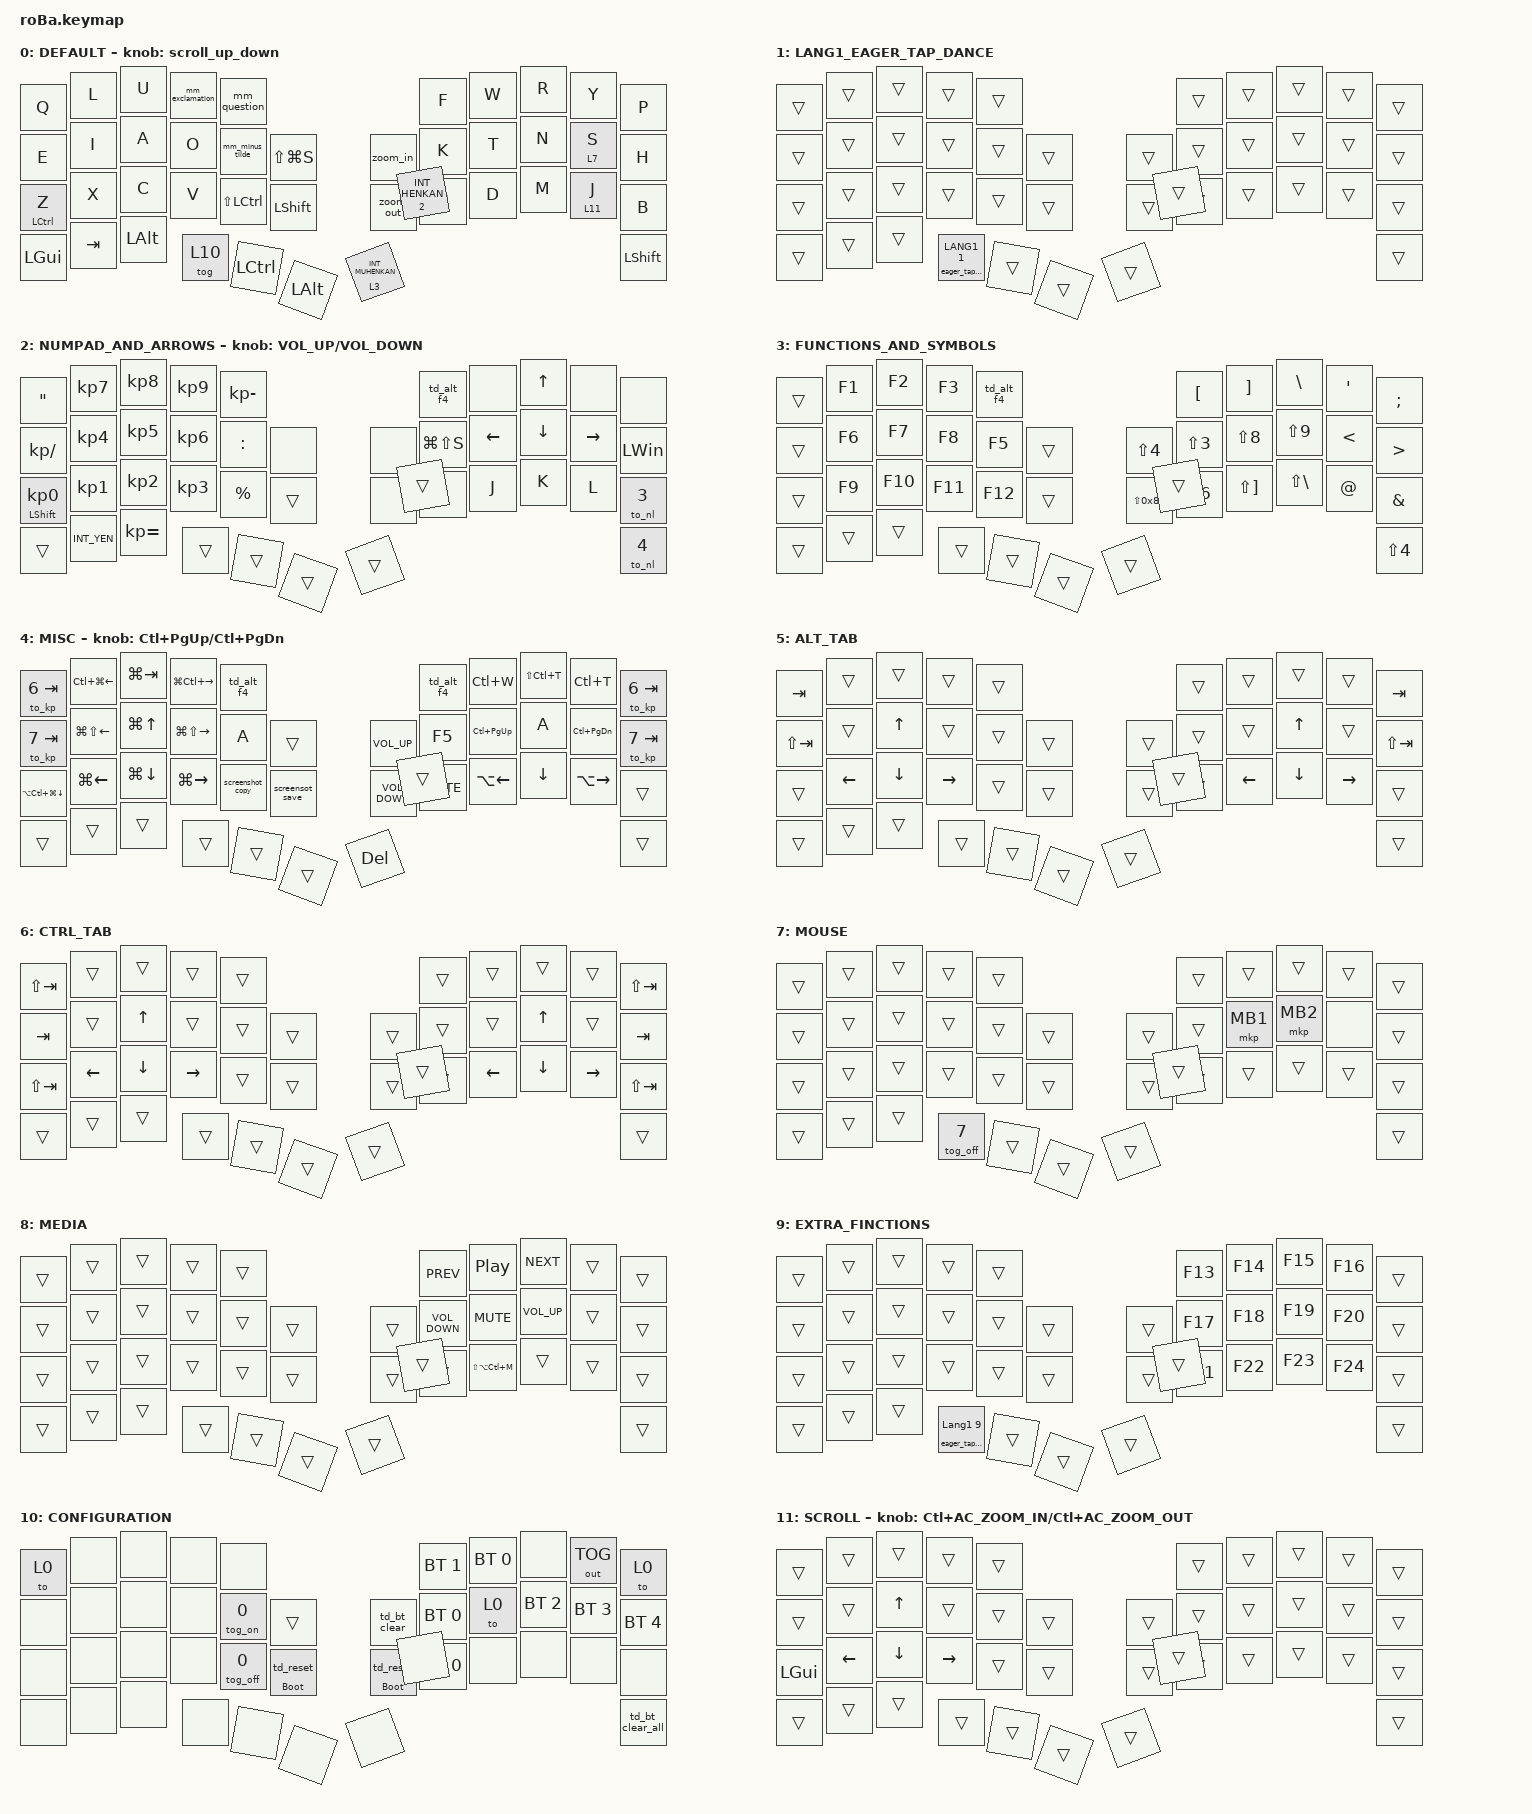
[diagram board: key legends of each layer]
/* --- マウス・ポインティングの設定 --- */

#define ZMK_POINTING_DEFAULT_SCRL_VAL 150 // スクロールの移動量を定義（数値が大きいほど速い）
#define ZMK_MOUSE_POINTING_SCRL_VAL 30

/* --- レイヤー番号の定義 --- */

#define DEFAULT 0               // 基本の入力レイヤー
#define LANG1_EAGER_TAP_DANCE 1 // 言語切り替え用の特殊な挙動レイヤー
#define NUMPAD_AND_ARROWS 2     // テンキーと矢印キーのレイヤー
#define FUNCTIONS_AND_SYMBOLS 3 // ファンクションキーと記号のレイヤー
#define MISC 4                  // その他(Miscellaneous)のキーレイヤー
#define ALT_TAB 5               // Alt+Tab操作用のレイヤー
#define CTRL_TAB 6              // Ctrl+Tab操作用のレイヤー
#define MOUSE 7                 // マウスカーソル操作レイヤー
#define MEDIA 8                 // 音楽再生や音量調整などのメディアレイヤー
#define EXTRA_FINCTIONS 9       // 追加機能レイヤー（スペルミス：FUNCTIONS）
#define CONFIGURATION 10        // キーボード自体の設定（ペアリング等）レイヤー
#define SCROLL 11               // スクロール操作専用レイヤー

/* --- システム・外部ファイルの読み込み --- */

#include <zephyr/dt-bindings/input/input-event-codes.h> // 標準的な入力イベント（キーコード）の定義
#include <dt-bindings/zmk/input_transform.h>           // トラックボールなどの入力反転・回転変換
#include <input/processors.dtsi>                       // 入力データの処理（スムージング等）

// #include <input/processors/report_rate_limit.dtsi>     // 通信の更新レート制限（バッテリー節約等）

#include <behaviors/rgbled_widget.dtsi>                // LED表示（ウィジェット）の制御
#include <layout_shift_kp_override.dtsi>               // シフト時のキー上書き設定

/* --- ZMKの基本機能の読み込み --- */

#include <behaviors/input_gestures_accel.dtsi>
#include <mouse-gesture.dtsi>
#include <behaviors.dtsi>
#include <dt-bindings/zmk/bt.h>
#include <dt-bindings/zmk/keys.h>
#include <dt-bindings/zmk/outputs.h>
#include <dt-bindings/zmk/pointing.h>

// OS設定を日本語キーボードのまま使用するための変換定義

#define JP_DQUOTE       AT                // "
#define JP_QUOTE        AMPERSAND         // '
#define JP_AMPERSAND    CARET             // &
#define JP_EQUAL        UNDER             // =
#define JP_CARET        EQUAL             // ^
#define JP_YEN          0x89              // ¥
#define JP_PLUS         COLON             // +
#define JP_TILDE        PLUS              // ~
#define JP_PIPE         LS(0x89)          // |
#define JP_AT           LEFT_BRACKET      // @
#define JP_COLON        SINGLE_QUOTE      // :
#define JP_ASTERISK     DOUBLE_QUOTES     // *
#define JP_BACKQUOTE    LEFT_BRACE        // `
#define JP_UNDERSCORE   LS(0x87)          // _
#define JP_LBRACKET     RIGHT_BRACKET     // [
#define JP_RBRACKET     BACKSLASH         // ]
#define JP_LPAREN       ASTERISK          // (
#define JP_RPAREN       LEFT_PARENTHESIS  // )
#define JP_LBRACE       RIGHT_BRACE       // {
#define JP_RBRACE       PIPE              // }
#define JP_KANA         LANGUAGE_1        // かな
#define JP_EISU         LANGUAGE_2        // 英数
#define JP_HANZEN       GRAVE             // 半角/全角

/* --- 以下設定 --- */

&mt {
    tapping-term-ms = <200>;
    quick-tap-ms = <250>;
    flavor = "balanced";
};

&lt {
    tapping-term-ms = <200>;
    quick-tap-ms = <250>;
    flavor = "balanced";
};

&to { /delete-property/ locking; };

&tog { /delete-property/ locking; };

&sk { release-after-ms = <300>; };

&sl { release-after-ms = <800>; };

/* --- AML (Auto Mouse Layer) 制御 --- */

&zip_temp_layer {
    require-prior-idle-ms = <800>;
    excluded-positions = <18 19>;
};

&mkp_input_listener { input-processors = <&zip_temp_layer MOUSE 500>; };

&trackball {
    status = "okay";
};

&pointer_accel {
    input-type = <INPUT_EV_REL>;
    track-remainders;
    min-factor = <1000>;
    max-factor = <7000>;
    speed-threshold = <300>;
    speed-max = <3500>;
    acceleration-exponent = <1>;
};

&trackball_listener {
    compatible = "zmk,input-listener";
    input-processors = <&zip_mouse_gesture>;

    auto-mouse-layer {
        layers = <DEFAULT MOUSE>;
        input-processors =
            <&zip_x_scaler 70 100>,
            <&zip_y_scaler 80 100>,
            <&pointer_accel>,
            <&zip_temp_layer MOUSE 50000>;

        process-next;
    };

    scroller {
        layers = <11>;
        input-processors =
            <&zip_xy_to_scroll_mapper>,
            <&roba_scroll>;

        process-next;
    };

    disable-scroll-x {
        layers = <EXTRA_FINCTIONS>;
        input-processors = <&wheel_x_scaler 0 1>;
        process-next;
    };
};

/ {
    input_processors {
        wheel_x_scaler: wheel_x_scaler {
            compatible = "zmk,input-processor-scaler";
            #input-processor-cells = <2>;
            type = <INPUT_EV_REL>;
            codes = <INPUT_REL_HWHEEL>;
            track-remainders;
        };
    };

    combos {
        compatible = "zmk,combos";

        ai_space {
            bindings = <&kp SPACE>;
            key-positions = <11 12>;
            layers = <0 7>;
            require-prior-idle-ms = <80>;
            timeout-ms = <80>;
        };

        ns_enter {
            bindings = <&kp ENTER>;
            key-positions = <19 20>;
            layers = <0 7>;
        };

        sh_bs {
            bindings = <&kp BACKSPACE>;
            key-positions = <20 21>;
            layers = <0 7>;
            timeout-ms = <80>;
        };

        yp_del {
            bindings = <&kp DEL>;
            key-positions = <8 9>;
        };

        jb_unsc {
            bindings = <&kp JP_UNDERSCORE>;
            key-positions = <32 33>;
            layers = <0 7>;
            timeout-ms = <80>;
        };

        middle_click {
            bindings = <&mkp MCLK>;
            key-positions = <18 19>;
            layers = <7 11>;
        };

        ql_escape {
            bindings = <&kp ESCAPE>;
            key-positions = <0 1>;
            layers = <0 7>;
            require-prior-idle-ms = <300>;
        };

        caps_word {
            bindings = <&caps_word>;
            key-positions = <22 33>;
            layers = <0>;
            require-prior-idle-ms = <300>;
        };

        wr_sq_brkt {
            bindings = <&mc_sq_brkt>;
            key-positions = <6 7>;
            layers = <0>;
        };

        tn_par_brkt {
            bindings = <&mc_par_brkt>;
            key-positions = <18 19>;
            layers = <0>;
        };

        dm_cur_brkt {
            bindings = <&mc_cur_brkt>;
            key-positions = <30 31>;
            layers = <0>;
        };

        ei_tab {
            bindings = <&kp_exit_AML TAB>;
            key-positions = <11 10>;
        };

        l2dm_copy {
            bindings = <&kp LC(C)>;
            key-positions = <30 31>;
            layers = <2>;
        };

        l2mj_paste {
            bindings = <&kp LC(V)>;
            key-positions = <32 31>;
            layers = <2>;
        };

        mj_slash {
            bindings = <&kp SLASH>;
            key-positions = <31 32>;
        };

        zx_ctrl_z {
            bindings = <&kp LC(Z)>;
            key-positions = <22 23>;
            layers = <0>;
        };

        layer10 {
            bindings = <&tog 10>;
            key-positions = <0 9>;
        };
    };

    macros {
        exit_AML: exit_AML {
            compatible = "zmk,behavior-macro";
            wait-ms = <0>;
            tap-ms = <0>;
            #binding-cells = <0>;
            bindings = <&tog_off MOUSE>;
            label = "exit_AML";
        };

        kp_exit_AML: kp_exit_AML {
            compatible = "zmk,behavior-macro-one-param";
            wait-ms = <0>;
            tap-ms = <0>;
            #binding-cells = <1>;
            bindings = <&macro_param_1to1 &kp MACRO_PLACEHOLDER &exit_AML>;
            label = "KP_exit_AML";
        };

        /omit-if-no-ref/

        mod_exit_AML: mod_exit_AML {
            compatible = "zmk,behavior-macro-one-param";
            wait-ms = <0>;
            tap-ms = <0>;
            #binding-cells = <1>;
            bindings =
                <&macro_press>,
                <&macro_param_1to1 &kp MACRO_PLACEHOLDER>,
                <&macro_tap>,
                <&exit_AML>,
                <&macro_pause_for_release>,
                <&macro_release>,
                <&macro_param_1to1 &kp MACRO_PLACEHOLDER>;
        };

        /omit-if-no-ref/

        mkp_exit_AML: mkp_exit_AML {
            compatible = "zmk,behavior-macro-one-param";
            #binding-cells = <1>;
            bindings =
                <&macro_press>,
                <&macro_param_1to1 &mkp MACRO_PLACEHOLDER>,
                <&macro_pause_for_release>,
                <&macro_release>,
                <&macro_param_1to1 &mkp MACRO_PLACEHOLDER>,
                <&macro_tap>,
                <&sl 7>;
        };

        /omit-if-no-ref/

        mo_exit_AML: mo_exit_AML {
            compatible = "zmk,behavior-macro-one-param";
            wait-ms = <0>;
            tap-ms = <0>;
            #binding-cells = <1>;
            bindings =
                <&macro_press>,
                <&macro_param_1to1 &mo MACRO_PLACEHOLDER>,
                <&macro_tap>,
                <&exit_AML>,
                <&macro_pause_for_release>,
                <&macro_release>,
                <&macro_param_1to1 &mo MACRO_PLACEHOLDER>,
                <&macro_tap>;
        };

        /omit-if-no-ref/

        mo_exit_alttab: mo_exit_alttab_ctrltab {
            compatible = "zmk,behavior-macro-one-param";
            wait-ms = <0>;
            tap-ms = <0>;
            #binding-cells = <1>;
            bindings =
                <&macro_press>,
                <&macro_param_1to1 &mo MACRO_PLACEHOLDER>,
                <&macro_tap>,
                <&macro_pause_for_release>,
                <&macro_release>,
                <&macro_param_1to1 &mo MACRO_PLACEHOLDER>,
                <&macro_tap>,
                <&tog_off 5 &tog_off 6>;
        };

        /omit-if-no-ref/

        kp_to: kp_to {
            compatible = "zmk,behavior-macro-two-param";
            wait-ms = <0>;
            tap-ms = <0>;
            #binding-cells = <2>;
            bindings = <&macro_param_1to1 &kp MACRO_PLACEHOLDER &macro_param_2to1 &to MACRO_PLACEHOLDER>;
        };

        to_kp: to_kp {
            compatible = "zmk,behavior-macro-two-param";
            #binding-cells = <2>;
            bindings = <&macro_param_1to1 &to MACRO_PLACEHOLDER &macro_param_2to1 &kp MACRO_PLACEHOLDER>;
        };

        // [] を入力して中に戻る

        mc_sq_brkt: mc_sq_brkt {
            compatible = "zmk,behavior-macro";
            #binding-cells = <0>;
            bindings = <&kp JP_LBRACKET &kp JP_RBRACKET &kp LEFT>;
        };

        // () を入力して中に戻る

        mc_par_brkt: mc_par_brkt {
            compatible = "zmk,behavior-macro";
            #binding-cells = <0>;
            bindings = <&kp JP_LPAREN &kp JP_RPAREN &kp LEFT>;
        };

        // {} を入力して中に戻る

        mc_cur_brkt: mc_cur_brkt {
            compatible = "zmk,behavior-macro";
            #binding-cells = <0>;
            bindings = <&kp JP_LBRACE &kp JP_RBRACE &kp LEFT>;
        };

        zoom_in: zoom_in {
            compatible = "zmk,behavior-macro";
            #binding-cells = <0>;
            bindings = <&kt_on LCTRL &msc SCRL_UP &kt_off LCTRL>;
        };

        zoom_out: zoom_out {
            compatible = "zmk,behavior-macro";
            #binding-cells = <0>;
            bindings = <&kt_on LCTRL &msc SCRL_DOWN &kt_off LCTRL>;
        };

        eager_tap_dance: eager_tap_dance {
            compatible = "zmk,behavior-macro-two-param";
            #binding-cells = <2>;
            bindings =
                <&macro_press>,
                <&macro_param_1to1 &kp MACRO_PLACEHOLDER>,
                <&macro_pause_for_release>,
                <&macro_release>,
                <&macro_param_1to1 &kp MACRO_PLACEHOLDER>,
                <&macro_tap>,
                <&macro_param_2to1 &sl_250 MACRO_PLACEHOLDER>;
        };

        // ホールド時にレイヤーを移動し、ホールド解除時に&to 0を強制

        mo_forced_reset: mo_forced_reset {
            compatible = "zmk,behavior-macro-one-param";
            #binding-cells = <1>;
            wait-ms = <0>;
            tap-ms = <0>;
            bindings =
                <&macro_tap>,
                <&exit_AML>,
                <&macro_tap>,
                <&exit_AML>,
                <&macro_press>,
                <&macro_param_1to1 &mo MACRO_PLACEHOLDER>,
                <&macro_pause_for_release>,
                <&macro_release>,
                <&macro_param_1to1 &mo MACRO_PLACEHOLDER>,
                <&macro_tap>,
                <&to 0 &exit_AML>;

            // ★ここで全解除して帰還
        };

        mo2_with_forced_exit: mo2_with_forced_exit {
            compatible = "zmk,behavior-macro";
            #binding-cells = <0>;
            wait-ms = <1>;
            tap-ms = <1>;
            bindings =
                <&macro_tap>,
                <&exit_AML>,
                <&macro_press>,
                <&to 2>,
                <&macro_pause_for_release>,
                <&macro_release>,
                <&mo 2>,
                <&macro_tap>,
                <&to 0 &exit_AML>;

            // レイヤー0へ強制帰還 + AML解除 
        };

        mo3_forced_reset: mo3_forced_reset {
            compatible = "zmk,behavior-macro";
            #binding-cells = <0>;
            bindings =
                <&macro_tap>,
                <&exit_AML>,
                <&macro_press>,
                <&mo 3>,
                <&macro_pause_for_release>,
                <&macro_release>,
                <&mo 3>,
                <&macro_tap>,
                <&to 0 &exit_AML>;

            // レイヤー0へ強制帰還 + AML解除 
        };

        to_nl: to_nl {
            compatible = "zmk,behavior-macro-one-param";
            #binding-cells = <1>;
            wait-ms = <1>;
            tap-ms = <1>;
            bindings =
                <&macro_tap>,
                <&exit_AML &macro_param_1to1 &to MACRO_PLACEHOLDER>;

            // 指定レイヤーへジャンプ 

            label = "TO_NL";
        };
    };

    behaviors {
        mm_minus_tilde: mm_minus_tilde {
            compatible = "zmk,behavior-mod-morph";
            #binding-cells = <0>;
            bindings = <&kp MINUS>, <&kp JP_TILDE>;

            mods = <(MOD_LSFT|MOD_RSFT)>;
        };

        td_lang_chenge: td_lang_chenge {
            compatible = "zmk,behavior-tap-dance";
            #binding-cells = <0>;
            tapping-term-ms = <200>;
            bindings = <&kp LANGUAGE_2>, <&kp LANGUAGE_1>;
        };

        lt_to_layer_0: lt_to_layer_0 {
            compatible = "zmk,behavior-hold-tap";
            #binding-cells = <2>;
            tapping-term-ms = <200>;
            flavor = "tap-preferred";
            bindings = <&mo>, <&kp>;
        };

        tog_on: toggle_layer_on {
            compatible = "zmk,behavior-toggle-layer";
            #binding-cells = <1>;
            display-name = "Toggle Layer On";
            toggle-mode = "on";
        };

        tog_off: toggle_layer_off {
            compatible = "zmk,behavior-toggle-layer";
            #binding-cells = <1>;
            display-name = "Toggle Layer Off";
            toggle-mode = "off";
        };

        // ホールドでレイヤー、タップで「キー＋AML解除」

        lt_exit_AML_on_tap: lt_exit_AML_on_tap {
            compatible = "zmk,behavior-hold-tap";
            label = "LT_EXIT_AML_ON_TAP";
            bindings = <&mo>, <&kp_exit_AML>;

            #binding-cells = <2>;
            tapping-term-ms = <200>;
            flavor = "balanced";
            quick-tap-ms = <200>;
        };

        lt_henkan_to_0: lt_henkan_to_0 {
            compatible = "zmk,behavior-hold-tap";
            label = "LT_HENKAN_TO_0";
            bindings = <&mo2_with_forced_exit>, <&kp_exit_AML>;

            // ホールドでマクロ、タップで変換+AML解除

            #binding-cells = <2>;
            tapping-term-ms = <150>;
            flavor = "hold-preferred";
            quick-tap-ms = <0>;
        };

        // 上記を組み合わせたTap-Dance

        td_muhenkan_henkan: td_muhenkan_henkan {
            compatible = "zmk,behavior-tap-dance";
            label = "TD_MUHENKAN_HENKAN";
            #binding-cells = <0>;
            tapping-term-ms = <200>;
            bindings =
                <&lt_exit_AML_on_tap 3 INT_MUHENKAN>,
                <&lt_exit_AML_on_tap 2 INT_HENKAN>;
        };

        kt_on: key_toggle_on_only {
            compatible = "zmk,behavior-key-toggle";
            #binding-cells = <1>;
            display-name = "Key Toggle On";
            toggle-mode = "on";
        };

        kt_off: key_toggle_off_only {
            compatible = "zmk,behavior-key-toggle";
            #binding-cells = <1>;
            display-name = "Key Toggle Off";
            toggle-mode = "off";
        };

        td_colon: td_colon {
            compatible = "zmk,behavior-tap-dance";
            #binding-cells = <0>;
            bindings = <&kp COLON>, <&kp SEMICOLON>;

            tapping-term-ms = <250>;
        };

        td_q_escape: td_q_escape {
            compatible = "zmk,behavior-tap-dance";
            #binding-cells = <0>;
            tapping-term-ms = <250>;
            bindings = <&kp Q>, <&kp ESCAPE>;
        };

        td_ZenkakuHankaku: td_ZenkakuHankaku {
            compatible = "zmk,behavior-tap-dance";
            #binding-cells = <0>;
            tapping-term-ms = <250>;
            bindings = <&kp LANGUAGE_2>, <&kp LANGUAGE_1>;
        };

        alt_tab: alt_tab {
            compatible = "zmk,behavior-macro-two-param";
            #binding-cells = <2>;
            bindings = <&macro_param_1to1 &kt_on MACRO_PLACEHOLDER &macro_param_2to1 &kp MACRO_PLACEHOLDER &macro_param_1to1 &sk MACRO_PLACEHOLDER &macro_param_1to1 &kt_off MACRO_PLACEHOLDER>;
        };

        windows_sleep: windows_sleep {
            compatible = "zmk,behavior-macro";
            wait-ms = <200>;
            tap-ms = <100>;
            #binding-cells = <0>;
            bindings = <&kp LG(X) &kp U &kp S>;
        };

        screensot_save: screensot_save {
            compatible = "zmk,behavior-macro";
            #binding-cells = <0>;
            bindings = <&kp LS(F11)>;
            label = "SCREENSOT_SAVE";
        };

        mkp_with_mod: mkp_with_mod {
            compatible = "zmk,behavior-macro-two-param";
            #binding-cells = <2>;
            bindings =
                <&macro_press>,
                <&macro_param_1to1 &kp MACRO_PLACEHOLDER &macro_param_2to1 &mkp MACRO_PLACEHOLDER>,
                <&macro_pause_for_release>,
                <&macro_release>,
                <&macro_param_2to1 &mkp MACRO_PLACEHOLDER &macro_param_1to1 &kp MACRO_PLACEHOLDER>;

            label = "MKP_WITH_MOD";
        };

        screenshot_copy: screenshot_copy {
            compatible = "zmk,behavior-mod-morph";
            bindings = <&kp LA(PRINTSCREEN)>, <&kp LA(PRINTSCREEN)>;

            #binding-cells = <0>;
            mods = <(MOD_LSFT|MOD_LALT)>;
            keep-mods = <(MOD_LALT)>;
        };

        mm_exclamation: mm_exclamation {
            compatible = "zmk,behavior-mod-morph";
            bindings = <&kp COMMA>, <&kp EXCL>;

            #binding-cells = <0>;
            mods = <(MOD_LSFT)>;
        };

        mm_question: mm_question {
            compatible = "zmk,behavior-mod-morph";
            bindings = <&kp PERIOD>, <&kp QUESTION>;

            #binding-cells = <0>;
            mods = <(MOD_LSFT)>;
        };

        mm_slash: mm_slash {
            compatible = "zmk,behavior-mod-morph";
            bindings = <&kp SLASH>, <&kp BACKSLASH>;

            #binding-cells = <0>;
            mods = <(MOD_LSFT)>;
        };

        td_alt_f4: td_alt_f4 {
            compatible = "zmk,behavior-tap-dance";
            #binding-cells = <0>;
            bindings = <&kp F4>, <&kp LA(F4)>;

            tapping-term-ms = <250>;
        };

        encoder_zoom: encoder_zoom {
            compatible = "zmk,behavior-sensor-rotate";
            #sensor-binding-cells = <0>;
            bindings = <&zoom_out>, <&zoom_in>;
        };

        encoder_volume: encoder_volume {
            compatible = "zmk,behavior-sensor-rotate";
            #sensor-binding-cells = <0>;
            bindings = <&kp C_VOLUME_DOWN>, <&kp C_VOLUME_UP>;
        };

        scroll_up_down: behavior_sensor_rotate_mouse_wheel_up_down {
            compatible = "zmk,behavior-roba-encoder-scroll";
            #sensor-binding-cells = <0>;
            base-delta = <1>;
            two-x-ms = <240>;
            four-x-ms = <140>;
            six-x-ms = <80>;
            reset-ms = <320>;
            fast-streak = <1>;
            inertia-streak = <2>;
            stop-ms = <70>;
            coast-tick-ms = <28>;
            coast-start-multiplier = <6>;
            coast-ticks = <6>;
            inertia-enabled;
        };

        sl_250: sl_250 {
            compatible = "zmk,behavior-sticky-key";
            bindings = <&mo>;
            #binding-cells = <1>;
            release-after-ms = <250>;
        };

        td_bt_clear: td_bt_clear {
            compatible = "zmk,behavior-tap-dance";
            #binding-cells = <0>;
            bindings = <&none>, <&none>, <&bt BT_CLR>;

            tapping-term-ms = <250>;
        };

        td_bt_clear_all: td_bt_clear_all {
            compatible = "zmk,behavior-tap-dance";
            #binding-cells = <0>;
            tapping-term-ms = <250>;
            bindings = <&none>, <&none>, <&bt BT_CLR_ALL>;
        };

        td_copy_paste: td_copy_paste {
            compatible = "zmk,behavior-tap-dance";
            #binding-cells = <0>;
            bindings = <&kp LC(C)>, <&kp LC(V)>;

            tapping-term-ms = <250>;
        };

        td_reset: td_reset {
            compatible = "zmk,behavior-tap-dance";
            #binding-cells = <0>;
            bindings = <&none>, <&sys_reset>;

            tapping-term-ms = <300>;
        };

        reset_bootloader: reset_bootloader {
            compatible = "zmk,behavior-hold-tap";
            #binding-cells = <2>;
            bindings = <&bootloader>, <&td_reset>;

            tapping-term-ms = <500>;
            flavor = "balanced";
        };

        td_rclick_close_tab: td_rclick_close_tab {
            compatible = "zmk,behavior-tap-dance";
            #binding-cells = <0>;
            bindings = <&mkp RCLK>, <&kp LC(W)>;

            tapping-term-ms = <250>;
        };

        td_rclick_close_tab_mouse_gesture: td_rclick_close_tab_mouse_gesture {
            compatible = "zmk,behavior-hold-tap";
            #binding-cells = <2>;
            bindings = <&mouse_gesture>, <&td_rclick_close_tab>;

            tapping-term-ms = <150>;
            flavor = "balanced";
        };
    };

    /* --- 以下キーマップ --- */

    keymap {
        compatible = "zmk,keymap";

        DEFAULT {
            bindings = <
&kp Q         &kp L    &kp U         &mm_exclamation  &mm_question                                                              &kp F                         &kp W  &kp R  &kp Y     &kp P
&kp E         &kp I    &kp A         &kp O            &mm_minus_tilde   &kp LS(LG(S))       &zoom_in                            &kp K                         &kp T  &kp N  &lt 7 S   &kp H
&mt LCTRL Z   &kp X    &kp C         &kp V            &kp LS(LCTRL)     &kp LEFT_SHIFT      &zoom_out                           &kp G                         &kp D  &kp M  &lt 11 J  &kp B
&kp LEFT_GUI  &kp TAB  &kp LEFT_ALT  &tog 10          &kp LEFT_CONTROL  &kp LEFT_ALT        &lt_exit_AML_on_tap 3 INT_MUHENKAN  &lt_henkan_to_0 2 INT_HENKAN                          &kp LEFT_SHIFT
            >;

            sensor-bindings = <&scroll_up_down>;
        };

        LANG1_EAGER_TAP_DANCE {
            bindings = <
&trans  &trans  &trans  &trans                    &trans                      &trans  &trans  &trans  &trans  &trans
&trans  &trans  &trans  &trans                    &trans  &trans      &trans  &trans  &trans  &trans  &trans  &trans
&trans  &trans  &trans  &trans                    &trans  &trans      &trans  &trans  &trans  &trans  &trans  &trans
&trans  &trans  &trans  &eager_tap_dance LANG1 1  &trans  &trans      &trans  &trans                          &trans
            >;
        };

        NUMPAD_AND_ARROWS {
            bindings = <
&kp JP_ASTERISK             &kp KP_NUMBER_7  &kp KP_NUMBER_8  &kp KP_NUMBER_9  &kp KP_MINUS                      &td_alt_f4     &none           &kp UP_ARROW    &none            &none
&kp KP_SLASH                &kp KP_NUMBER_4  &kp KP_NUMBER_5  &kp KP_NUMBER_6  &kp JP_PLUS   &none       &none   &kp LG(LS(S))  &kp LEFT_ARROW  &kp DOWN_ARROW  &kp RIGHT_ARROW  &kp LEFT_WIN
&mt LEFT_SHIFT KP_NUMBER_0  &kp KP_NUMBER_1  &kp KP_NUMBER_2  &kp KP_NUMBER_3  &kp PERCENT   &trans      &none   &none          &kp J           &kp K           &kp L            &to_nl 3
&trans                      &kp INT_YEN      &kp KP_EQUAL     &trans           &trans        &trans      &trans  &trans                                                          &to_nl 4
            >;

            sensor-bindings = <&inc_dec_kp C_VOLUME_UP C_VOLUME_DOWN>;
        };

        FUNCTIONS_AND_SYMBOLS {
            bindings = <
&trans  &kp F1  &kp F2   &kp F3   &td_alt_f4                                 &kp LBKT    &kp RBKT      &kp BSLH      &kp JP_COLON   &kp SEMICOLON
&trans  &kp F6  &kp F7   &kp F8   &kp F5      &trans      &kp LS(N4)         &kp LS(N3)  &kp LS(N8)    &kp LS(N9)    &kp LESS_THAN  &kp GREATER_THAN
&trans  &kp F9  &kp F10  &kp F11  &kp F12     &trans      &kp JP_UNDERSCORE  &kp LS(N6)  &kp LS(RBKT)  &kp LS(BSLH)  &kp JP_DQUOTE  &kp JP_QUOTE
&trans  &trans  &trans   &trans   &trans      &trans      &trans             &trans                                                 &kp LS(N4)
            >;
        };

        MISC {
            bindings = <
&to_kp 6 TAB          &kp LC(LG(LEFT))        &kp LG(TAB)       &kp LG(LC(RIGHT))        &td_alt_f4                                                &td_alt_f4  &kp LC(W)        &kp LS(LC(T))  &kp LC(T)          &to_kp 6 TAB
&to_kp 7 TAB          &kp LG(LS(LEFT_ARROW))  &kp LG(UP_ARROW)  &kp LG(LS(RIGHT_ARROW))  &kp A             &trans               &kp C_VOLUME_UP    &kp F5      &kp LC(PAGE_UP)  &kp A          &kp LC(PAGE_DOWN)  &to_kp 7 TAB
&kp LA(LC(LG(DOWN)))  &kp LG(LEFT_ARROW)      &kp LG(DOWN)      &kp LG(RIGHT_ARROW)      &screenshot_copy  &screensot_save      &kp C_VOLUME_DOWN  &kp K_MUTE  &kp LA(LEFT)     &kp DOWN       &kp LA(RIGHT)      &trans
&trans                &trans                  &trans            &trans                   &trans            &trans               &kp DELETE         &trans                                                         &trans
            >;

            sensor-bindings = <&inc_dec_kp LC(PAGE_UP) LC(PAGE_DOWN)>;
        };

        ALT_TAB {
            bindings = <
&kp TAB      &trans    &trans    &trans     &trans                      &trans  &trans    &trans    &trans     &kp TAB
&kp LS(TAB)  &trans    &kp UP    &trans     &trans  &trans      &trans  &trans  &trans    &kp UP    &trans     &kp LS(TAB)
&trans       &kp LEFT  &kp DOWN  &kp RIGHT  &trans  &trans      &trans  &trans  &kp LEFT  &kp DOWN  &kp RIGHT  &trans
&trans       &trans    &trans    &trans     &trans  &trans      &trans  &trans                                 &trans
            >;
        };

        CTRL_TAB {
            bindings = <
&kp LS(TAB)  &trans    &trans    &trans     &trans                      &trans  &trans    &trans    &trans     &kp LS(TAB)
&kp TAB      &trans    &kp UP    &trans     &trans  &trans      &trans  &trans  &trans    &kp UP    &trans     &kp TAB
&kp LS(TAB)  &kp LEFT  &kp DOWN  &kp RIGHT  &trans  &trans      &trans  &trans  &kp LEFT  &kp DOWN  &kp RIGHT  &kp LS(TAB)
&trans       &trans    &trans    &trans     &trans  &trans      &trans  &trans                                 &trans
            >;
        };

        MOUSE {
            bindings = <
&trans  &trans  &trans  &trans      &trans                      &trans  &trans    &trans    &trans  &trans
&trans  &trans  &trans  &trans      &trans  &trans      &trans  &trans  &mkp MB1  &mkp MB2  &none   &trans
&trans  &trans  &trans  &trans      &trans  &trans      &trans  &trans  &trans    &trans    &trans  &trans
&trans  &trans  &trans  &tog_off 7  &trans  &trans      &trans  &trans                              &trans
            >;
        };

        MEDIA {
            bindings = <
&trans  &trans  &trans  &trans  &trans                      &kp C_PREV         &kp C_PLAY_PAUSE   &kp C_NEXT       &trans  &trans
&trans  &trans  &trans  &trans  &trans  &trans      &trans  &kp C_VOLUME_DOWN  &kp C_MUTE         &kp C_VOLUME_UP  &trans  &trans
&trans  &trans  &trans  &trans  &trans  &trans      &trans  &trans             &kp LS(LA(LC(M)))  &trans           &trans  &trans
&trans  &trans  &trans  &trans  &trans  &trans      &trans  &trans                                                         &trans
            >;
        };

        EXTRA_FINCTIONS {
            bindings = <
&trans  &trans  &trans  &trans                         &trans                      &kp F13  &kp F14  &kp F15  &kp F16  &trans
&trans  &trans  &trans  &trans                         &trans  &trans      &trans  &kp F17  &kp F18  &kp F19  &kp F20  &trans
&trans  &trans  &trans  &trans                         &trans  &trans      &trans  &kp F21  &kp F22  &kp F23  &kp F24  &trans
&trans  &trans  &trans  &eager_tap_dance LANGUAGE_1 9  &trans  &trans      &trans  &trans                              &trans
            >;
        };

        CONFIGURATION {
            bindings = <
&to 0  &none  &none  &none  &none                                                         &bt BT_SEL 1  &bt BT_SEL 0  &none         &out OUT_TOG  &to 0
&none  &none  &none  &none  &tog_on 0   &trans                     &td_bt_clear           &bt BT_SEL 0  &to 0         &bt BT_SEL 2  &bt BT_SEL 3  &bt BT_SEL 4
&none  &none  &none  &none  &tog_off 0  &reset_bootloader 0 0      &reset_bootloader 0 0  &bt BT_SEL 0  &none         &none         &none         &none
&none  &none  &none  &none  &none       &none                      &none                  &none                                                   &td_bt_clear_all
            >;
        };

        SCROLL {
            bindings = <
&trans        &trans          &trans          &trans           &trans                      &trans  &trans  &trans  &trans  &trans
&trans        &trans          &kp UP_ARROW    &trans           &trans  &trans      &trans  &trans  &trans  &trans  &trans  &trans
&kp LEFT_GUI  &kp LEFT_ARROW  &kp DOWN_ARROW  &kp RIGHT_ARROW  &trans  &trans      &trans  &trans  &trans  &trans  &trans  &trans
&trans        &trans          &trans          &trans           &trans  &trans      &trans  &trans                          &trans
            >;

            sensor-bindings = <&inc_dec_kp LC(C_AC_ZOOM_IN) LC(C_AC_ZOOM_OUT)>;
        };
    };
};
